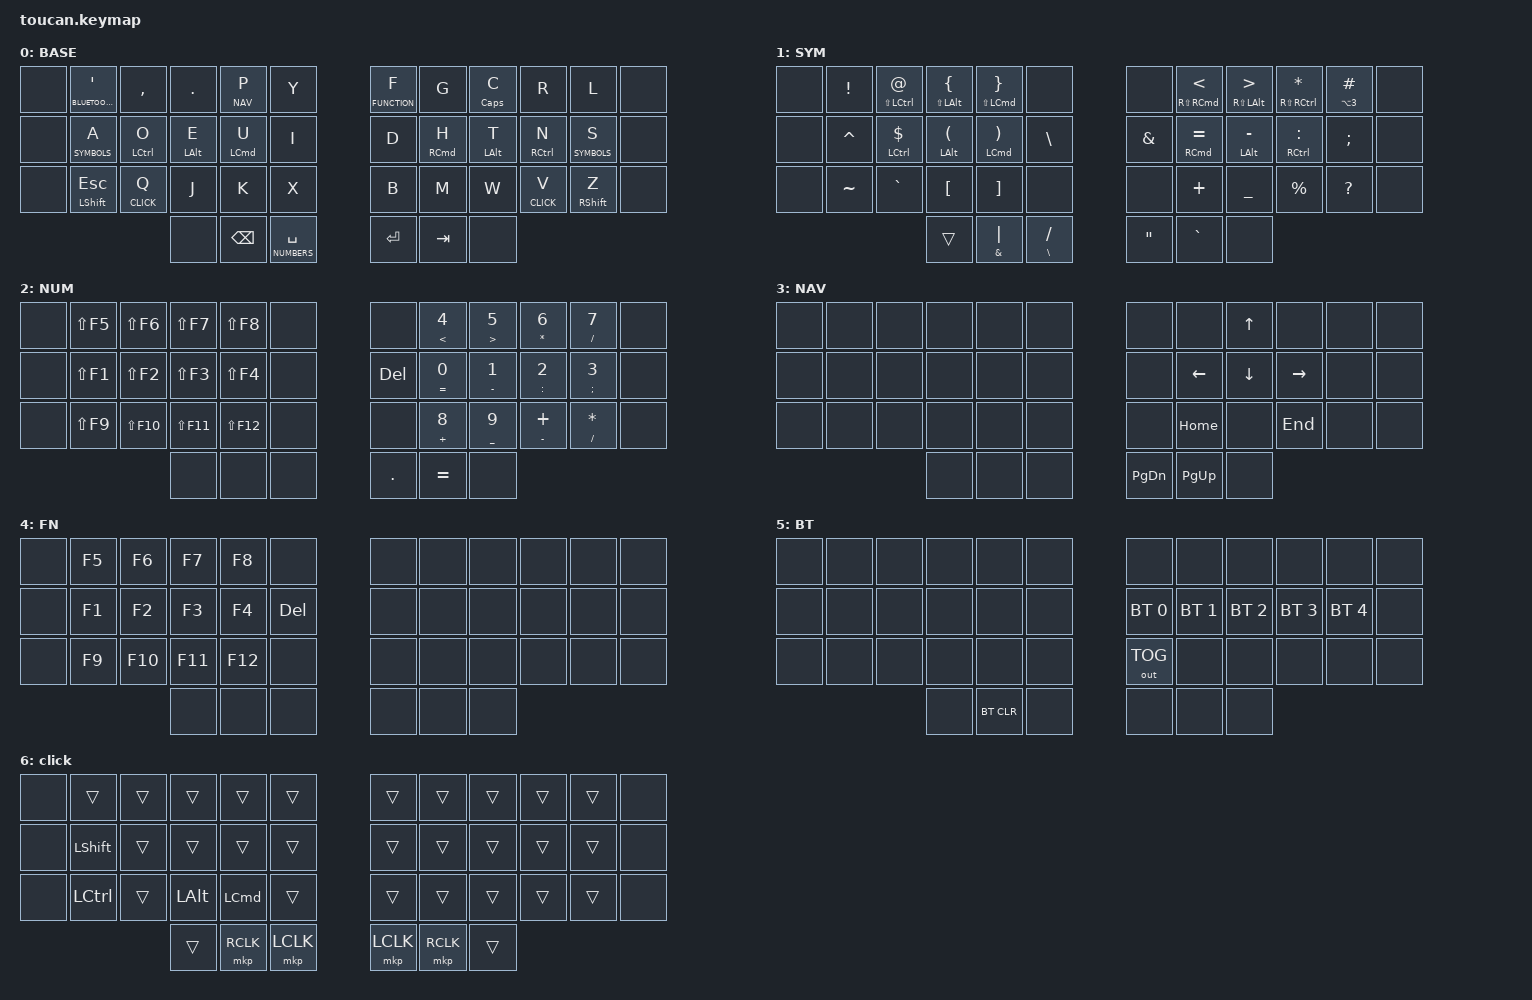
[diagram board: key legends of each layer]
#include <behaviors.dtsi>
#include <dt-bindings/zmk/keys.h>
#include <dt-bindings/zmk/bt.h>
#include <dt-bindings/zmk/outputs.h>

#define BASE 0
#define SYMBOLS 1
#define NUMBERS 2
#define NAV 3
#define FUNCTION 4
#define BLUETOOTH 5
#define CLICK 6

#define LCLK 1
#define RCLK 2

// tapping-term-ms
#define TT 160

/ {
    behaviors {
        hm: homerow_mods {
            compatible = "zmk,behavior-hold-tap";
            label = "HOMEROW_MODS";
            #binding-cells = <2>;
            tapping-term-ms = <TT>;
            quick-tap-ms = <0>;
            flavor = "balanced";
            bindings = <&kp>, <&kp>;
        };
        hmpt: homerow_mods_prefer_tap {
            compatible = "zmk,behavior-hold-tap";
            label = "HOMEROW_MODS_PREFER_TAP";
            #binding-cells = <2>;
            tapping-term-ms = <TT>;
            quick-tap-ms = <0>;
            flavor = "tap-preferred";
            bindings = <&kp>, <&kp>;
        };
        blt: balanced_layer_tap {
            compatible = "zmk,behavior-hold-tap";
            label = "BALANCED_LAYER_TAP";
            #binding-cells = <2>;
            tapping-term-ms = <TT>;
            quick-tap-ms = <0>;
            flavor = "balanced";
            bindings = <&mo>, <&kp>;
        };
        tt: toggle_layer_tap {
            compatible = "zmk,behavior-hold-tap";
            label = "TOGGLE_LAYER_TAP";
            #binding-cells = <2>;
            tapping-term-ms = <250>;
            flavor = "tap-preferred";
            bindings = <&kp>, <&tog>;
        };
    };

    keymap {
        compatible = "zmk,keymap";

        base {
            display-name = "BASE";
// --------------------------------------------------------------------------------------------------------------------------------------------------------------------
//  '    |  ,  |  .  |  P/Nav  |  Y  |                             |  F/Fn  |  G  |  C/Caps  |    R    |  L   |
// A/Sym |  O/Ctrl  |  E/Alt [A->F13]? |  U/Cmd  |  I  |           |  D  |  H/Cmd  |  T/Alt  |    N/Ctrl    |  S/Sym |
// Esc/Lsft|  Q/Click  |  J  |  K  |  X  |                               |  B  |  M  |  W  |    V    |Z/Rsft|
// | | Bspc/LC | SPC/Num/RC |                                                       | Ent | Tab |     |
           bindings = <
              &none &lt BLUETOOTH APOS &kp COMMA &kp DOT &blt NAV P &kp Y &lt FUNCTION F &kp G &hm CAPS C &kp R  &kp L &none
              &none &blt SYMBOLS A &hm LCTRL O &hmpt LALT E &hm LCMD U &kp I &kp D &hm RCMD H &hmpt LALT T &hm RCTRL N &blt SYMBOLS S &none
              &none &hm LSHFT ESC &blt CLICK Q &kp J &kp K &kp X &kp B &kp M &kp W &blt CLICK V &hm RSHFT Z &none
              &none &kp BSPC &blt NUMBERS SPACE &kp RET &kp TAB &none
            >;
        };

        symbols {
            display-name = "SYM";
// --------------------------------------------------------------------------------------------------------------------------------------------------------------------
//  !  |  @  |  {  |  }  |     |                |         |    <    |    >   |  *  |   #  |
//  ^  |  $  |  (  |  )  |  \  |                |    &    |    =    |    -   |  :  |   ;  |
//  ~  |  `  |  [  |  ]  |     |                |         |    +    |    _   |  %  |   ?  |
//         |  ,,  | |/&  | //\ |                |    "    |    `    |   ,,   |
           bindings = <
             &none &kp EXCL &hm LS(LCTRL) AT &hmpt LS(LALT) LBRC &hm LS(LCMD) RBRC &none &none &hm RS(RCMD) LT &hmpt RS(LALT) GT &hm RS(RCTRL) ASTERISK &hm LA(N3) HASH &none
             &none &kp CARET &hm LCTRL DOLLAR &hmpt LALT LPAR &hm LCMD RPAR &kp BACKSLASH &kp AMPS &hm RCMD EQL &hmpt LALT MINUS &hm RCTRL COLON &kp SEMICOLON &none
             &none &kp TILDE &kp GRAVE &kp LBKT &kp RBKT &none &none &kp PLUS &kp UNDERSCORE &kp PERCENT &kp QMARK &none
             &trans &mt AMPS PIPE &mt BACKSLASH SLASH &kp DQT &kp GRAVE &none
           >;
        };

        numbers {
            display-name = "NUM";
// --------------------------------------------------------------------------------------------------------------------------------------------------------------------
//   s-f5  |  s-f6  |  s-f7 |  s-f8  |   |            |         |    4/<    |    5/>   |  6/*  |   7//  |
//    s-f1   |  s-f2 |  s-f3 | s-f4 |   |             |   DEL   |    0/=    |    1/-   | 2/: |   3/;  |
//     s-f9   | s-f10 | s-f11 | s-f12 |   |           |         |    8/+    |    9/_   | +/- | *//  |
//         |      |     |      |     |      |    .    |    =    |      |
           bindings = <
              &none &kp LS(F5) &kp LS(F6) &kp LS(F7) &kp LS(F8) &none &none &hmpt LT N4 &hmpt GT N5 &hmpt ASTERISK N6 &hmpt SLASH N7 &none
              &none &kp LS(F1) &kp LS(F2) &kp LS(F3) &kp LS(F4) &none &kp DEL &hmpt EQL N0 &hmpt MINUS N1 &hmpt COLON N2 &hmpt SEMICOLON N3 &none
              &none &kp LS(F9) &kp LS(F10) &kp LS(F11) &kp LS(F12) &none &none &hmpt PLUS N8 &hmpt UNDERSCORE N9 &hmpt MINUS PLUS &hmpt SLASH ASTERISK &none
 	          &none &none &none &kp DOT &kp EQL &none
            >;
        };

        nav {
            display-name = "NAV";
// --------------------------------------------------------------------------------------------------------------------------------------------------------------------
//     |     |     |     |     |                |         |         |    ^   |     |      |
//     |     |     |     |     |                |         |    <    |    v   |  >  |      |
//     |     |     |     |     |                |         |   HOME  |        | END |      |
//         |      |     |      |     |      |    PgDN   |   PgUP  |      |
           bindings = <
        	  &none &none &none &none &none &none &none &none &kp UP &none &none &none
        	  &none &none &none &none &none &none &none &kp LEFT &kp DOWN &kp RIGHT &none &none
        	  &none &none &none &none &none &none &none &kp HOME &none &kp END &none &none
              &none &none &none &kp PG_DN &kp PG_UP &none
            >;
        };

        fn {
            display-name = "FN";
// --------------------------------------------------------------------------------------------------------------------------------------------------------------------
//  F5 |  F6 | F7  | F8  |     |                |         |         |        |     |      |
//  F1 |  F2 | F3  | F4  | DEL |                |         |         |        |     |      |
//  F9 | F10 | F11 | F12 |     |                |   ,,    |   ,,    |        |     |      |
//         |      |     |      |     |      |           |         |      |
           bindings = <
              &none &kp F5 &kp F6 &kp F7 &kp F8 &none &none &none &none &none &none &none
              &none &kp F1 &kp F2 &kp F3 &kp F4 &kp DEL &none &none &none &none &none &none
              &none &kp F9 &kp F10 &kp F11 &kp F12 &none &none &none &none &none &none &none
	          &none &none &none &none &none &none
            >;
        };

        bt {
            display-name = "BT";
// --------------------------------------------------------------------------------------------------------------------------------------------------------------------
//     |     |     |     |     |                |         |         |        |     |      |
//     |     |     |     |     |                |   P0    |    P1   |   P2   |  P3 |  P4  |
//     |     |     |     |     |                | BT/USB  |         |        |     |      |
//         | CLR  |     |      |
           bindings = <
              &none &none &none &none &none &none &none &none &none &none &none &none
              &none &none &none &none &none &none &bt BT_SEL 0 &bt BT_SEL 1 &bt BT_SEL 2 &bt BT_SEL 3 &bt BT_SEL 4 &none
              &none &none &none &none &none &none &out OUT_TOG &none &none &none &none &none
	          &none &bt BT_CLR &none &none &none &none
            >;
        };

        click {
            bindings = <
              &none &trans     &trans     &trans  &trans     &trans    &trans  &trans  &trans  &trans  &trans &none
              &none &kp LSHFT  &trans     &trans  &trans     &trans    &trans  &trans  &trans  &trans  &trans &none
              &none &kp LCTRL  &trans  &kp LALT  &kp LCMD    &trans    &trans  &trans  &trans  &trans  &trans &none
              &trans  &mkp RCLK &mkp LCLK    &mkp LCLK  &mkp RCLK &trans
            >;
        };

    };
};
